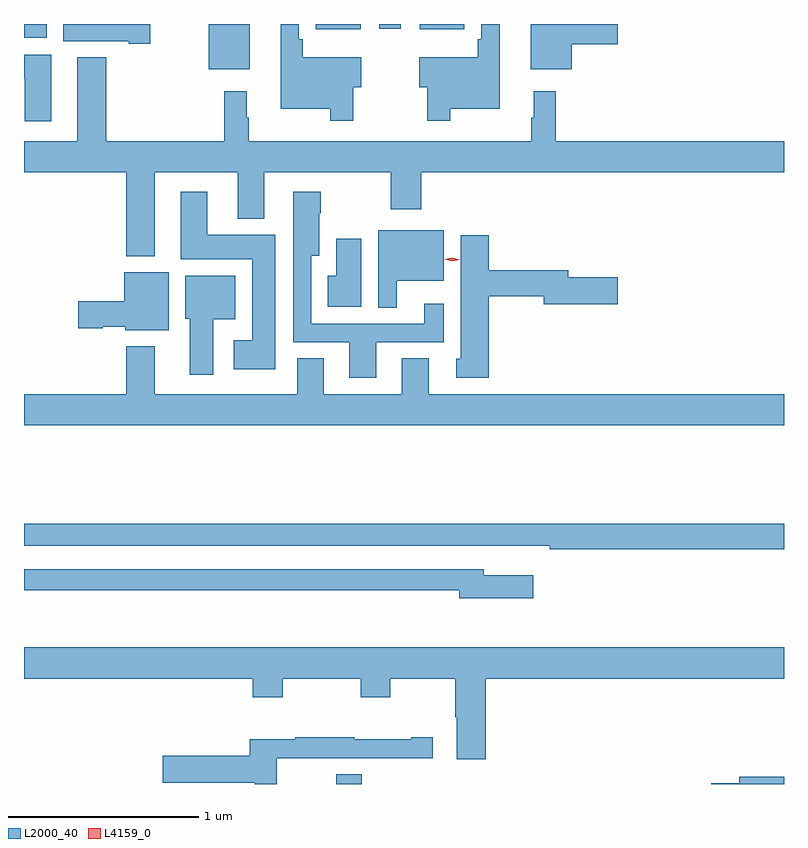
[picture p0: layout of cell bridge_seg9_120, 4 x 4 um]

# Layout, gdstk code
import gdstk
lib = gdstk.Library(unit=1e-6, precision=1e-09)
def R(c, l, rs):  # rectangles x0, y0, x1, y1
    for r in rs: c.add(gdstk.rectangle(r[:2], r[2:], *l))
def P(c, l, *ps):  # polygons
    for p in ps: c.add(gdstk.Polygon(p, *l))
L2000_40 = (2000, 40)
L4159_0 = (4159, 0)

bridge_seg9_120 = lib.new_cell('bridge_seg9_120')
R(bridge_seg9_120, L2000_40, [(600.482,1230.497,600.616,1230.548), (599.81,1234.259,600.025,1234.497), (598.838,1234.424,598.957,1234.497), (600.374,1234.469,600.61,1234.497), (600.92,1234.469,601.156,1234.497), (600.708,1234.472,600.822,1234.497)])
P(bridge_seg9_120, L2000_40, [(599.503,1234.497),(599.045,1234.497),(599.045,1234.406),(599.39,1234.406),(599.39,1234.394),(599.503,1234.394)],
  [(600.571,1234.163),(600.613,1234.163),(600.613,1234.321),(600.305,1234.321),(600.305,1234.417),(600.285,1234.417),(600.285,1234.497),(600.188,1234.497),(600.188,1234.052),(600.45,1234.052),(600.45,1233.987),(600.571,1233.987)],
  [(601.72,1234.391),(601.963,1234.391),(601.963,1234.497),(601.505,1234.497),(601.505,1234.259),(601.72,1234.259)],
  [(601.081,1234.052),(601.342,1234.052),(601.342,1234.497),(601.245,1234.497),(601.245,1234.417),(601.225,1234.417),(601.225,1234.321),(600.918,1234.321),(600.918,1234.163),(600.96,1234.163),(600.96,1233.987),(601.081,1233.987)],
  [(598.981,1234.336),(598.838,1234.336),(598.838,1234.208),(598.841,1234.208),(598.841,1233.984),(598.981,1233.984)],
  [(599.527,1233.716),(599.963,1233.716),(599.963,1233.473),(600.103,1233.473),(600.103,1233.716),(600.769,1233.716),(600.769,1233.522),(600.929,1233.522),(600.929,1233.716),(602.838,1233.716),(602.838,1233.88),(601.637,1233.88),(601.637,1234.144),(601.52,1234.144),(601.52,1234.004),(601.509,1234.004),(601.509,1233.88),(600.022,1233.88),(600.022,1234.004),(600.01,1234.004),(600.01,1234.144),(599.893,1234.144),(599.893,1233.88),(599.27,1233.88),(599.27,1234.321),(599.117,1234.321),(599.117,1233.88),(598.838,1233.88),(598.838,1233.716),(599.375,1233.716),(599.375,1233.275),(599.527,1233.275)],
  [(600.16,1233.388),(599.803,1233.388),(599.803,1233.613),(599.663,1233.613),(599.663,1233.26),(600.038,1233.26),(600.038,1232.833),(599.943,1232.833),(599.943,1232.681),(600.16,1232.681)],
  [(600.691,1232.823),(601.048,1232.823),(601.048,1233.025),(600.944,1233.025),(600.944,1232.919),(600.351,1232.919),(600.351,1233.278),(600.391,1233.278),(600.391,1233.5),(600.399,1233.5),(600.399,1233.613),(600.254,1233.613),(600.254,1233.384),(600.255,1233.384),(600.255,1232.823),(600.551,1232.823),(600.551,1232.634),(600.691,1232.634)],
  [(600.799,1233.146),(601.048,1233.146),(601.048,1233.412),(600.702,1233.412),(600.702,1233.004),(600.799,1233.004)],
  [(601.283,1233.064),(601.574,1233.064),(601.574,1233.022),(601.963,1233.022),(601.963,1233.164),(601.702,1233.164),(601.702,1233.2),(601.283,1233.2),(601.283,1233.385),(601.136,1233.385),(601.136,1232.736),(601.112,1232.736),(601.112,1232.634),(601.283,1232.634)],
  [(600.613,1233.367),(600.482,1233.367),(600.482,1233.173),(600.436,1233.173),(600.436,1233.008),(600.613,1233.008)],
  [(599.599,1233.19),(599.366,1233.19),(599.366,1233.038),(599.124,1233.038),(599.124,1232.896),(599.253,1232.896),(599.253,1232.903),(599.37,1232.903),(599.37,1232.885),(599.599,1232.885)],
  [(599.833,1232.942),(599.95,1232.942),(599.95,1233.172),(599.687,1233.172),(599.687,1232.946),(599.711,1232.946),(599.711,1232.652),(599.833,1232.652)],
  [(602.838,1232.548),(600.967,1232.548),(600.967,1232.738),(600.827,1232.738),(600.827,1232.548),(600.415,1232.548),(600.415,1232.738),(600.275,1232.738),(600.275,1232.548),(599.527,1232.548),(599.527,1232.8),(599.375,1232.8),(599.375,1232.548),(598.838,1232.548),(598.838,1232.384),(602.838,1232.384)],
  [(602.838,1231.868),(598.838,1231.868),(598.838,1231.752),(601.354,1231.752),(601.354,1231.751),(601.606,1231.751),(601.606,1231.732),(602.838,1231.732)],
  [(601.519,1231.597),(601.258,1231.597),(601.258,1231.626),(598.838,1231.626),(598.838,1231.518),(601.13,1231.518),(601.13,1231.475),(601.519,1231.475)],
  [(601.268,1231.052),(602.838,1231.052),(602.838,1231.216),(598.838,1231.216),(598.838,1231.052),(600.041,1231.052),(600.041,1230.953),(600.201,1230.953),(600.201,1231.052),(600.61,1231.052),(600.61,1230.953),(600.765,1230.953),(600.765,1231.052),(601.108,1231.052),(601.108,1230.848),(601.115,1230.848),(601.115,1230.627),(601.268,1230.627)],
  [(600.168,1230.632),(600.378,1230.632),(600.378,1230.633),(600.712,1230.633),(600.712,1230.632),(600.988,1230.632),(600.988,1230.742),(600.875,1230.742),(600.875,1230.732),(600.575,1230.732),(600.575,1230.742),(600.265,1230.742),(600.265,1230.732),(600.026,1230.732),(600.026,1230.645),(599.568,1230.645),(599.568,1230.503),(600.052,1230.503),(600.052,1230.497),(600.168,1230.497)],
  [(602.838,1230.536),(602.603,1230.536),(602.603,1230.5),(602.454,1230.5),(602.454,1230.497),(602.838,1230.497)])
P(bridge_seg9_120, L4159_0, [(601.092,1233.248),(601.053,1233.259),(601.053,1233.259),(601.053,1233.259),(601.092,1233.268),(601.131,1233.257),(601.132,1233.257),(601.131,1233.257)])

lib.write_gds('bridge_seg9_120.gds')
